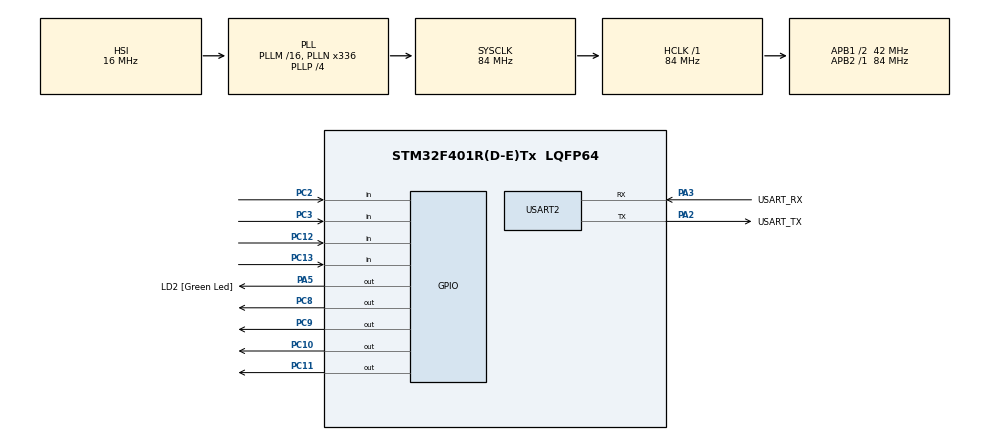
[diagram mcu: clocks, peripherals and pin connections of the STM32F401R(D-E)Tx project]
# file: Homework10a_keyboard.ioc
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Dma.Request0=USART2_TX
Dma.USART2_TX.0.Direction=DMA_MEMORY_TO_PERIPH
Dma.USART2_TX.0.FIFOMode=DMA_FIFOMODE_DISABLE
Dma.USART2_TX.0.Instance=DMA1_Stream6
Dma.USART2_TX.0.MemDataAlignment=DMA_MDATAALIGN_BYTE
Dma.USART2_TX.0.MemInc=DMA_MINC_ENABLE
Dma.USART2_TX.0.Mode=DMA_NORMAL
Dma.USART2_TX.0.PeriphDataAlignment=DMA_PDATAALIGN_BYTE
Dma.USART2_TX.0.PeriphInc=DMA_PINC_DISABLE
Dma.USART2_TX.0.Priority=DMA_PRIORITY_LOW
Mcu.Family=STM32F4
Mcu.Name=STM32F401R(D-E)Tx
Mcu.Package=LQFP64
NVIC.DMA1_Stream6_IRQn=true\:0\:0\:false\:false\:true\:false\:true\:true
NVIC.PriorityGroup=NVIC_PRIORITYGROUP_0
NVIC.TIM2_IRQn=true\:0\:0\:false\:false\:true\:true\:true\:true
NVIC.USART2_IRQn=true\:0\:0\:false\:false\:true\:true\:true\:true
PA13.GPIO_Label=TMS
PA13.Mode=Serial_Wire
PA13.Signal=SYS_JTMS-SWDIO
PA14.GPIO_Label=TCK
PA14.Mode=Serial_Wire
PA14.Signal=SYS_JTCK-SWCLK
PA2.GPIO_Label=USART_TX
PA2.GPIO_Mode=GPIO_MODE_AF_PP
PA2.GPIO_PuPd=GPIO_NOPULL
PA2.GPIO_Speed=GPIO_SPEED_FREQ_LOW
PA2.Mode=Asynchronous
PA2.Signal=USART2_TX
PA3.GPIO_Label=USART_RX
PA3.GPIO_Mode=GPIO_MODE_AF_PP
PA3.GPIO_PuPd=GPIO_NOPULL
PA3.GPIO_Speed=GPIO_SPEED_FREQ_LOW
PA3.Mode=Asynchronous
PA3.Signal=USART2_RX
PA5.GPIO_Label=LD2 [Green Led]
PA5.GPIO_Mode=GPIO_MODE_OUTPUT_PP
PA5.GPIO_PuPd=GPIO_NOPULL
PA5.GPIO_Speed=GPIO_SPEED_FREQ_LOW
PA5.Signal=GPIO_Output
PB3.GPIO_Label=SWO
PB3.Signal=SYS_JTDO-SWO
PC10.Signal=GPIO_Output
PC11.Signal=GPIO_Output
PC12.Signal=GPIO_Input
PC13-ANTI_TAMP.Signal=GPIO_Input
PC14-OSC32_IN.Mode=LSE-External-Oscillator
PC14-OSC32_IN.Signal=RCC_OSC32_IN
PC15-OSC32_OUT.Mode=LSE-External-Oscillator
PC15-OSC32_OUT.Signal=RCC_OSC32_OUT
PC2.Signal=GPIO_Input
PC3.Signal=GPIO_Input
PC8.Signal=GPIO_Output
PC9.Signal=GPIO_Output
PH0\ -\ OSC_IN.Mode=HSE-External-Clock-Source
PH0\ -\ OSC_IN.Signal=RCC_OSC_IN
PH1\ -\ OSC_OUT.Mode=HSE-External-Clock-Source
PH1\ -\ OSC_OUT.Signal=RCC_OSC_OUT
ProjectManager.HeapSize=0x200
ProjectManager.StackSize=0x400
ProjectManager.TargetToolchain=STM32CubeIDE
RCC.48MHZClocksFreq_Value=48000000
RCC.AHBFreq_Value=84000000
RCC.APB1CLKDivider=RCC_HCLK_DIV2
RCC.APB1Freq_Value=42000000
RCC.APB1TimFreq_Value=84000000
RCC.APB2Freq_Value=84000000
RCC.APB2TimFreq_Value=84000000
RCC.CortexFreq_Value=84000000
RCC.HCLKFreq_Value=84000000
RCC.HSE_VALUE=8000000
RCC.HSI_VALUE=16000000
RCC.PLLN=336
RCC.PLLP=RCC_PLLP_DIV4
RCC.PLLQ=7
RCC.SYSCLKFreq_VALUE=84000000
RCC.SYSCLKSource=RCC_SYSCLKSOURCE_PLLCLK
RCC.VCOOutputFreq_Value=336000000
TIM2.Period=50-1
TIM2.Prescaler=8400-1
USART2.VirtualMode=VM_ASYNC
VP_TIM2_VS_ClockSourceINT.Mode=Internal
board=NUCLEO-F401RE

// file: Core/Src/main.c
/* USER CODE BEGIN Header */
/**
  ******************************************************************************
  * @file           : main.c
  * @brief          : Main program body
  ******************************************************************************
  * @attention
  *
  * Copyright (c) 2024 STMicroelectronics.
  * All rights reserved.
  *
  * This software is licensed under terms that can be found in the LICENSE file
  * in the root directory of this software component.
  * If no LICENSE file comes with this software, it is provided AS-IS.
  *
  ******************************************************************************
  *
  * GOAL:
  * Scan each column and read the keyboard using a timer interrupt. Letters have
  * to be transmitted to the PC via UART
  */
/* USER CODE END Header */
#include "main.h"

/* USER CODE BEGIN PD */

#define ROW_0 GPIOC,GPIO_PIN_3
#define ROW_1 GPIOC,GPIO_PIN_2
#define ROW_2 GPIOC,GPIO_PIN_13
#define ROW_3 GPIOC,GPIO_PIN_12

#define COL_0 GPIOC,GPIO_PIN_11
#define COL_1 GPIOC,GPIO_PIN_10
#define COL_2 GPIOC,GPIO_PIN_9
#define COL_3 GPIOC,GPIO_PIN_8

/*NUM_OF_SAMPLES is choosen in order to debounce*/
#define NUM_OF_SAMPLES 2
#define ROW_LENGTH 4
#define COLUMN_LENGTH 4

/* USER CODE END PD */

TIM_HandleTypeDef htim2;

UART_HandleTypeDef huart2;
DMA_HandleTypeDef hdma_usart2_tx;

/* USER CODE BEGIN PV */

//index of the samples collected in order to debounce
uint8_t sample_index = NUM_OF_SAMPLES-1;

//index of the number of the column
uint8_t col_index = ROW_LENGTH-1;
//index of the number of the row
uint8_t row_index = 0;
//button state (used also for debouncing) - if zero btn is pressed
uint8_t btn = 0;

uint8_t i = 0;
uint8_t j = 0;
uint8_t k = 0;

//buttons state - 3rd dimension stores the different samples to debounce
uint8_t rx_data[NUM_OF_SAMPLES][COLUMN_LENGTH][ROW_LENGTH];

char out_matrix[COLUMN_LENGTH][ROW_LENGTH] = {
		{'F', 'E', 'D', 'C'},
		{'B', 'A', '9', '8'},
		{'7', '6', '5', '4'},
		{'3', '2', '1', '0'}
};

uint8_t old_btn[COLUMN_LENGTH][ROW_LENGTH] = {	//previous state of the buttons
		{1, 1, 1, 1},
		{1, 1, 1, 1},
		{1, 1, 1, 1},
		{1, 1, 1, 1},
};

uint8_t print[COLUMN_LENGTH][ROW_LENGTH] = {	//if 1 -> print the corresponding button
		{0, 0, 0, 0},
		{0, 0, 0, 0},
		{0, 0, 0, 0},
		{0, 0, 0, 0},
};

/* USER CODE END PV */

void SystemClock_Config(void);
static void MX_GPIO_Init(void);
static void MX_DMA_Init(void);
static void MX_USART2_UART_Init(void);
static void MX_TIM2_Init(void);

/* USER CODE BEGIN 0 */

/*Every 5 ms*/
void HAL_TIM_PeriodElapsedCallback (TIM_HandleTypeDef *htim) {	//5ms elapsed
	if (htim == &htim2) {
		row_index = 0;

		/*Getting the data from ROW 0
		 * Here I save the state of the button*/
		rx_data[sample_index][row_index][col_index] = HAL_GPIO_ReadPin(ROW_0);

		/*Debouncing: check if the btn is stable at 0 (2 times in a row)*/
		btn = 0;
		for (i= 0; i < NUM_OF_SAMPLES; i++) {

			/*Here I update the state of the button between new and old value*/
			btn = btn || rx_data[i][row_index][col_index];
		}

		/*If the the button was already pressed, do no print anything
		 * else (if the button was not pressed (old_btn[][] = 1) then print the char out
		 * (by setting print matrix)*/
		if (!btn && old_btn[row_index][col_index]){
			print[row_index][col_index] = 1;
		}
		/*Here I update the button state*/
		old_btn[row_index][col_index] = btn;

		/*Row 1: same procedure as before*/

		row_index++; //update of the index

		/*Getting the btn state*/
		rx_data[sample_index][row_index][col_index] = HAL_GPIO_ReadPin(ROW_1);

		/*Debouncing*/
		btn = 0;
		for (i= 0; i < NUM_OF_SAMPLES; i++) {
			btn = btn || rx_data[i][row_index][col_index];
		}

		/*Same control as before*/
		if (!btn && old_btn[row_index][col_index]){
			print[row_index][col_index] = 1;
		}

		old_btn[row_index][col_index] = btn;

		/*ROW 3 */

		row_index++; //update of the index

		/*Getting the btn state*/
		rx_data[sample_index][row_index][col_index] = HAL_GPIO_ReadPin(ROW_2);

		/*Debouncing*/
		btn = 0;
		for (i= 0; i < NUM_OF_SAMPLES; i++) {
			btn = btn || rx_data[i][row_index][col_index];
		}

		if (!btn && old_btn[row_index][col_index]){
			print[row_index][col_index] = 1;
		}

		old_btn[row_index][col_index] = btn;

		/*ROW 3*/

		row_index++; //update of the index

		/*Getting the btn state*/
		rx_data[sample_index][row_index][col_index] = HAL_GPIO_ReadPin(ROW_3);

		btn = 0;
		for (i= 0; i < NUM_OF_SAMPLES; i++) {
			btn = btn || rx_data[i][row_index][col_index];
		}

		if (!btn && old_btn[row_index][col_index])
			print[row_index][col_index] = 1;

		old_btn[row_index][col_index] = btn;

		/*Here I transmit to the PC via uart all the */
		for (i = 0; i < ROW_LENGTH; i++) {
			if(print[i][col_index]){
				HAL_UART_Transmit_DMA(&huart2, &out_matrix[i][col_index], 1);
				print[i][col_index]=0;
		    }
		}

		/*Update the column which have to be turned on: this have to be done at the very end
		 * in order to allow a stable "turned on" situation for the next iteration
		 * in this way overlap is avoided*/
		col_index++;

		if (col_index == ROW_LENGTH){
			col_index = 0;
		}

		//Resetting every column
		HAL_GPIO_WritePin(COL_0, GPIO_PIN_RESET);
		HAL_GPIO_WritePin(COL_1, GPIO_PIN_RESET);
		HAL_GPIO_WritePin(COL_2, GPIO_PIN_RESET);
		HAL_GPIO_WritePin(COL_3, GPIO_PIN_RESET);

		/*Turning on the right column depending on the index*/
		switch (col_index) {
		case 0:
			/*every time I start from the first column, I check the state of
			 * the sample index: for every iteration I acquire a new sample*/
			sample_index++;	//need to acquire new sample
			if (sample_index == NUM_OF_SAMPLES){
				sample_index = 0;
			}
			HAL_GPIO_WritePin(COL_0, GPIO_PIN_SET);
			break;
		case 1:
			HAL_GPIO_WritePin(COL_1, GPIO_PIN_SET);
			break;
		case 2:
			HAL_GPIO_WritePin(COL_2, GPIO_PIN_SET);
			break;
		case 3:
			HAL_GPIO_WritePin(COL_3, GPIO_PIN_SET);
			break;
		default:
			break;
		}
	}
}

/* USER CODE END 0 */

int main(void)
{

  /* MCU Configuration--------------------------------------------------------*/

  /* Reset of all peripherals, Initializes the Flash interface and the Systick. */
  HAL_Init();

  /* Configure the system clock */
  SystemClock_Config();

  /* Initialize all configured peripherals */
  MX_GPIO_Init();
  MX_DMA_Init();
  MX_USART2_UART_Init();
  MX_TIM2_Init();
  /* USER CODE BEGIN 2 */

  /*Reset*/
  for (i = 0; i < NUM_OF_SAMPLES; i++) {
      for (j = 0; j < COLUMN_LENGTH; j++) {
          for (k = 0; k < ROW_LENGTH; k++) {
              rx_data[i][j][k] = 1;
          }
      }
  }

  __HAL_TIM_CLEAR_IT(&htim2, TIM_IT_UPDATE);	//clear interrupt request BEFORE enabling tim interrupt
    HAL_TIM_Base_Start_IT(&htim2); 				//start TIM2 in interrupt mode

  /* USER CODE END 2 */

  /* Infinite loop */
  while (1)
  {

  }
}

void SystemClock_Config(void)
{
  RCC_OscInitTypeDef RCC_OscInitStruct = {0};
  RCC_ClkInitTypeDef RCC_ClkInitStruct = {0};

  /** Configure the main internal regulator output voltage
  */
  __HAL_RCC_PWR_CLK_ENABLE();
  __HAL_PWR_VOLTAGESCALING_CONFIG(PWR_REGULATOR_VOLTAGE_SCALE2);

  /** Initializes the RCC Oscillators according to the specified parameters
  * in the RCC_OscInitTypeDef structure.
  */
  RCC_OscInitStruct.OscillatorType = RCC_OSCILLATORTYPE_HSI;
  RCC_OscInitStruct.HSIState = RCC_HSI_ON;
  RCC_OscInitStruct.HSICalibrationValue = RCC_HSICALIBRATION_DEFAULT;
  RCC_OscInitStruct.PLL.PLLState = RCC_PLL_ON;
  RCC_OscInitStruct.PLL.PLLSource = RCC_PLLSOURCE_HSI;
  RCC_OscInitStruct.PLL.PLLM = 16;
  RCC_OscInitStruct.PLL.PLLN = 336;
  RCC_OscInitStruct.PLL.PLLP = RCC_PLLP_DIV4;
  RCC_OscInitStruct.PLL.PLLQ = 7;
  if (HAL_RCC_OscConfig(&RCC_OscInitStruct) != HAL_OK)
  {
    Error_Handler();
  }

  /** Initializes the CPU, AHB and APB buses clocks
  */
  RCC_ClkInitStruct.ClockType = RCC_CLOCKTYPE_HCLK|RCC_CLOCKTYPE_SYSCLK
                              |RCC_CLOCKTYPE_PCLK1|RCC_CLOCKTYPE_PCLK2;
  RCC_ClkInitStruct.SYSCLKSource = RCC_SYSCLKSOURCE_PLLCLK;
  RCC_ClkInitStruct.AHBCLKDivider = RCC_SYSCLK_DIV1;
  RCC_ClkInitStruct.APB1CLKDivider = RCC_HCLK_DIV2;
  RCC_ClkInitStruct.APB2CLKDivider = RCC_HCLK_DIV1;

  if (HAL_RCC_ClockConfig(&RCC_ClkInitStruct, FLASH_LATENCY_2) != HAL_OK)
  {
    Error_Handler();
  }
}

static void MX_TIM2_Init(void)
{

  TIM_ClockConfigTypeDef sClockSourceConfig = {0};
  TIM_MasterConfigTypeDef sMasterConfig = {0};

  htim2.Instance = TIM2;
  htim2.Init.Prescaler = 8400-1;
  htim2.Init.CounterMode = TIM_COUNTERMODE_UP;
  htim2.Init.Period = 50-1;
  htim2.Init.ClockDivision = TIM_CLOCKDIVISION_DIV1;
  htim2.Init.AutoReloadPreload = TIM_AUTORELOAD_PRELOAD_DISABLE;
  if (HAL_TIM_Base_Init(&htim2) != HAL_OK)
  {
    Error_Handler();
  }
  sClockSourceConfig.ClockSource = TIM_CLOCKSOURCE_INTERNAL;
  if (HAL_TIM_ConfigClockSource(&htim2, &sClockSourceConfig) != HAL_OK)
  {
    Error_Handler();
  }
  sMasterConfig.MasterOutputTrigger = TIM_TRGO_RESET;
  sMasterConfig.MasterSlaveMode = TIM_MASTERSLAVEMODE_DISABLE;
  if (HAL_TIMEx_MasterConfigSynchronization(&htim2, &sMasterConfig) != HAL_OK)
  {
    Error_Handler();
  }

}

static void MX_USART2_UART_Init(void)
{

  huart2.Instance = USART2;
  huart2.Init.BaudRate = 115200;
  huart2.Init.WordLength = UART_WORDLENGTH_8B;
  huart2.Init.StopBits = UART_STOPBITS_1;
  huart2.Init.Parity = UART_PARITY_NONE;
  huart2.Init.Mode = UART_MODE_TX_RX;
  huart2.Init.HwFlowCtl = UART_HWCONTROL_NONE;
  huart2.Init.OverSampling = UART_OVERSAMPLING_16;
  if (HAL_UART_Init(&huart2) != HAL_OK)
  {
    Error_Handler();
  }

}

static void MX_DMA_Init(void)
{

  /* DMA controller clock enable */
  __HAL_RCC_DMA1_CLK_ENABLE();

  /* DMA interrupt init */
  /* DMA1_Stream6_IRQn interrupt configuration */
  HAL_NVIC_SetPriority(DMA1_Stream6_IRQn, 0, 0);
  HAL_NVIC_EnableIRQ(DMA1_Stream6_IRQn);

}

static void MX_GPIO_Init(void)
{
  GPIO_InitTypeDef GPIO_InitStruct = {0};

  /* GPIO Ports Clock Enable */
  __HAL_RCC_GPIOC_CLK_ENABLE();
  __HAL_RCC_GPIOH_CLK_ENABLE();
  __HAL_RCC_GPIOA_CLK_ENABLE();
  __HAL_RCC_GPIOB_CLK_ENABLE();

  /*Configure GPIO pin Output Level */
  HAL_GPIO_WritePin(LD2_GPIO_Port, LD2_Pin, GPIO_PIN_RESET);

  /*Configure GPIO pin Output Level */
  HAL_GPIO_WritePin(GPIOC, GPIO_PIN_8|GPIO_PIN_9|GPIO_PIN_10|GPIO_PIN_11, GPIO_PIN_RESET);

  /*Configure GPIO pins : PC13 PC2 PC3 PC12 */
  GPIO_InitStruct.Pin = GPIO_PIN_13|GPIO_PIN_2|GPIO_PIN_3|GPIO_PIN_12;
  GPIO_InitStruct.Mode = GPIO_MODE_INPUT;
  GPIO_InitStruct.Pull = GPIO_NOPULL;
  HAL_GPIO_Init(GPIOC, &GPIO_InitStruct);

  /*Configure GPIO pin : LD2_Pin */
  GPIO_InitStruct.Pin = LD2_Pin;
  GPIO_InitStruct.Mode = GPIO_MODE_OUTPUT_PP;
  GPIO_InitStruct.Pull = GPIO_NOPULL;
  GPIO_InitStruct.Speed = GPIO_SPEED_FREQ_LOW;
  HAL_GPIO_Init(LD2_GPIO_Port, &GPIO_InitStruct);

  /*Configure GPIO pins : PC8 PC9 PC10 PC11 */
  GPIO_InitStruct.Pin = GPIO_PIN_8|GPIO_PIN_9|GPIO_PIN_10|GPIO_PIN_11;
  GPIO_InitStruct.Mode = GPIO_MODE_OUTPUT_PP;
  GPIO_InitStruct.Pull = GPIO_NOPULL;
  GPIO_InitStruct.Speed = GPIO_SPEED_FREQ_LOW;
  HAL_GPIO_Init(GPIOC, &GPIO_InitStruct);

}

void Error_Handler(void)
{
  __disable_irq();
  while (1)
  {
  }
}
